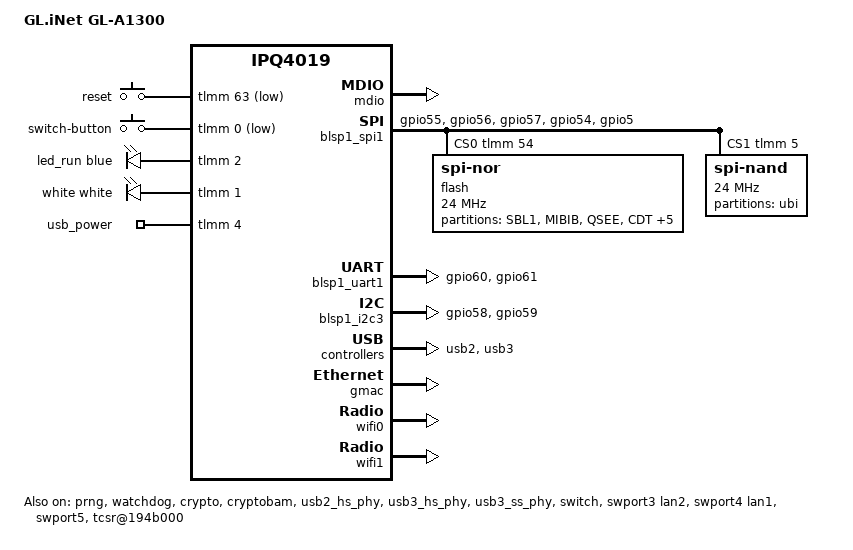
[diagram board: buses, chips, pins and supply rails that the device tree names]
// SPDX-License-Identifier: GPL-2.0-or-later OR MIT

#include "qcom-ipq4019.dtsi"
#include <dt-bindings/gpio/gpio.h>
#include <dt-bindings/input/input.h>
#include <dt-bindings/leds/common.h>
#include <dt-bindings/soc/qcom,tcsr.h>

/ {
	model = "GL.iNet GL-A1300";
	compatible = "glinet,gl-a1300", "qcom,ipq4019";

	aliases {
		led-boot = &led_run;
		led-failsafe = &led_run;
		led-running = &led_run;
		led-upgrade = &led_run;
		label-mac-device = &swport4;
	};

	chosen {
		bootargs-append = " ubi.mtd=ubi root=/dev/ubiblock0_1";
	};

	soc {
		tcsr@1949000 {
			compatible = "qcom,tcsr";
			reg = <0x1949000 0x100>;
			qcom,wifi_glb_cfg = <TCSR_WIFI_GLB_CFG>;
		};

		tcsr@194b000 {
			/* select hostmode */
			compatible = "qcom,tcsr";
			reg = <0x194b000 0x100>;
			qcom,usb-hsphy-mode-select = <TCSR_USB_HSPHY_HOST_MODE>;
			status = "okay";
		};

		ess_tcsr@1953000 {
			compatible = "qcom,tcsr";
			reg = <0x1953000 0x1000>;
			qcom,ess-interface-select = <TCSR_ESS_PSGMII>;
		};

		tcsr@1957000 {
			compatible = "qcom,tcsr";
			reg = <0x1957000 0x100>;
			qcom,wifi_noc_memtype_m0_m2 = <TCSR_WIFI_NOC_MEMTYPE_M0_M2>;
		};
	};

	keys {
		compatible = "gpio-keys";

		reset {
			label = "reset";
			gpios = <&tlmm 63 GPIO_ACTIVE_LOW>;
			linux,code = <KEY_RESTART>;
		};

		switch {
			label = "switch-button";
			gpios = <&tlmm 0 GPIO_ACTIVE_LOW>;
			linux,code = <KEY_SETUP>;
		};
	};

	leds {
		compatible = "gpio-leds";

		led_run: blue {
			function = LED_FUNCTION_STATUS;
			color = <LED_COLOR_ID_BLUE>;
			gpios = <&tlmm 2 GPIO_ACTIVE_HIGH>;
		};

		white {
			function = LED_FUNCTION_STATUS;
			color = <LED_COLOR_ID_WHITE>;
			gpios = <&tlmm 1 GPIO_ACTIVE_HIGH>;
		};
	};

	gpio_export {
		compatible = "gpio-export";

		usb {
			gpio-export,name = "usb_power";
			gpio-export,output = <1>;
			gpios = <&tlmm 4 GPIO_ACTIVE_HIGH>;
		};
	};
};

&prng {
	status = "okay";
};

&mdio {
	status = "okay";
};

&blsp_dma {
	status = "okay";
};

&watchdog {
	status = "okay";
};

&crypto {
	status = "okay";
};

&cryptobam {
	status = "okay";
};

&blsp1_spi1 {
	status = "okay";

	pinctrl-0 = <&spi0_pins>;
	pinctrl-names = "default";
	cs-gpios = <&tlmm 54 GPIO_ACTIVE_HIGH>, <&tlmm 5 GPIO_ACTIVE_HIGH>;

	flash@0 {
		compatible = "jedec,spi-nor";
		reg = <0>;
		spi-max-frequency = <24000000>;

		partitions {
			compatible = "fixed-partitions";
			#address-cells = <1>;
			#size-cells = <1>;

			partition@0 {
				label = "SBL1";
				reg = <0x00000000 0x00040000>;
				read-only;
			};

			partition@40000 {
				label = "MIBIB";
				reg = <0x00040000 0x00020000>;
				read-only;
			};

			partition@60000 {
				label = "QSEE";
				reg = <0x00060000 0x00060000>;
				read-only;
			};

			partition@c0000 {
				label = "CDT";
				reg = <0x000c0000 0x00010000>;
				read-only;
			};

			partition@d0000 {
				label = "DDRPARAMS";
				reg = <0x000d0000 0x00010000>;
				read-only;
			};

			partition@e0000 {
				label = "APPSBLENV"; /* uboot env*/
				reg = <0x000e0000 0x00010000>;
			};

			partition@f0000 {
				label = "APPSBL"; /* uboot */
				reg = <0x000f0000 0x00080000>;
				read-only;
			};

			partition@170000 {
				label = "ART";
				reg = <0x00170000 0x00010000>;
				read-only;

				nvmem-layout {
					compatible = "fixed-layout";
					#address-cells = <1>;
					#size-cells = <1>;

					macaddr_gmac0: macaddr@0 {
						compatible = "mac-base";
						reg = <0x0 0x6>;
						#nvmem-cell-cells = <1>;
					};

					macaddr_gmac1: macaddr@6 {
						reg = <0x6 0x6>;
					};

					precal_art_1000: precal@1000 {
						reg = <0x1000 0x2f20>;
					};

					precal_art_5000: precal@5000 {
						reg = <0x5000 0x2f20>;
					};
				};
			};

			partition@180000 {
				label = "log";
				reg = <0x00180000 0x00020000>;
			};
		};
	};

	spi-nand@1 {
		compatible = "spi-nand";
		reg = <1>;
		spi-max-frequency = <24000000>;

		partitions {
			compatible = "fixed-partitions";
			#address-cells = <1>;
			#size-cells = <1>;

			partition@0 {
				label = "ubi";
				reg = <0x00000000 0x08000000>;
			};
		};
	};
};

&blsp1_uart1 {
	pinctrl-0 = <&serial_pins>;
	pinctrl-names = "default";
	status = "okay";
};

&tlmm {
	serial_pins: serial_pinmux {
		mux {
			pins = "gpio60", "gpio61";
			function = "blsp_uart0";
			bias-disable;
		};
	};

	i2c_0_pins: i2c_0_pinmux {
		pinmux {
			pins = "gpio58", "gpio59";
			function = "blsp_i2c0";
			bias-disable;
		};
	};

	spi0_pins: spi0_pinmux {
		mux_spi {
			function = "blsp_spi0";
			pins = "gpio55", "gpio56", "gpio57";
			drive-strength = <12>;
			bias-disable;
		};

		mux_cs {
			function = "gpio";
			pins = "gpio54", "gpio5";
			drive-strength = <2>;
			bias-disable;
			output-high;
		};
	};
};

&blsp1_i2c3 {
	status = "okay";
	pinctrl-0 = <&i2c_0_pins>;
	pinctrl-names = "default";
};

&usb2 {
	status = "okay";
};

&usb3 {
	status = "okay";
};

&usb2_hs_phy {
	status = "okay";
};

&usb3_hs_phy {
	status = "okay";
};

&usb3_ss_phy {
	status = "okay";
};

&gmac {
	status = "okay";
};

&switch {
	status = "okay";
};

&swport3 {
	status = "okay";

	label = "lan2";
	nvmem-cell-names = "mac-address";
	nvmem-cells = <&macaddr_gmac0 2>;
};

&swport4 {
	status = "okay";

	label = "lan1";
	nvmem-cell-names = "mac-address";
	nvmem-cells = <&macaddr_gmac0 0>;
};

&swport5 {
	status = "okay";

	nvmem-cell-names = "mac-address";
	nvmem-cells = <&macaddr_gmac1>;
};

&wifi0 {
	status = "okay";
	nvmem-cell-names = "pre-calibration";
	nvmem-cells = <&precal_art_1000>;
	qcom,ath10k-calibration-variant = "GL-A1300";
};

&wifi1 {
	status = "okay";
	nvmem-cell-names = "pre-calibration";
	nvmem-cells = <&precal_art_5000>;
	qcom,ath10k-calibration-variant = "GL-A1300";
};
